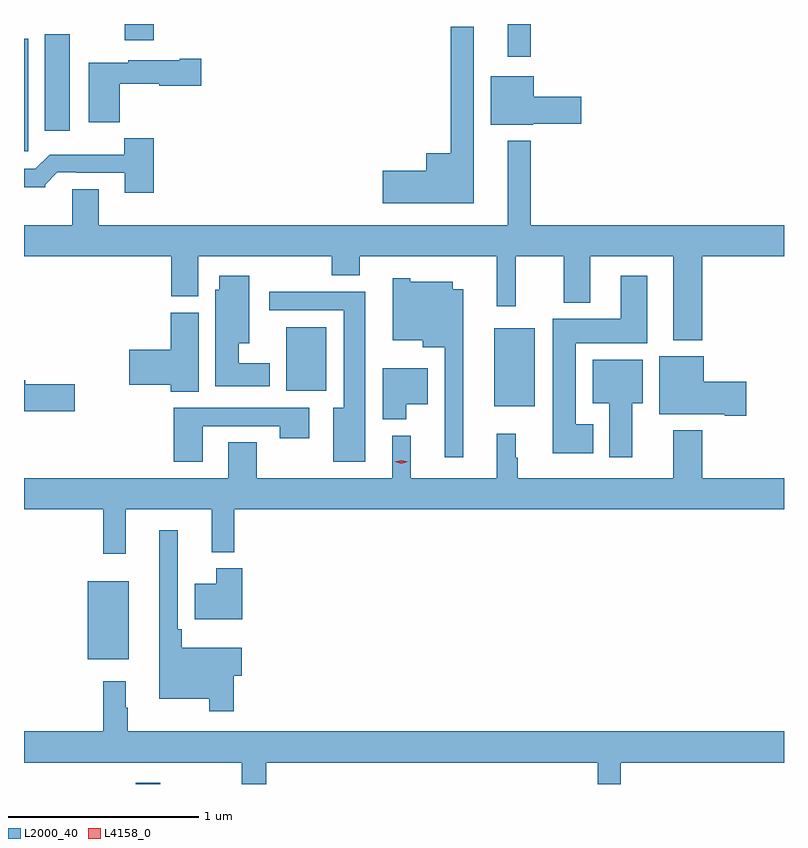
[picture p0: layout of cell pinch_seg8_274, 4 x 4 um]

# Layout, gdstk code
import gdstk
lib = gdstk.Library(unit=1e-6, precision=1e-09)
def R(c, l, rs):  # rectangles x0, y0, x1, y1
    for r in rs: c.add(gdstk.rectangle(r[:2], r[2:], *l))
def P(c, l, *ps):  # polygons
    for p in ps: c.add(gdstk.Polygon(p, *l))
L2000_40 = (2000, 40)
L4158_0 = (4158, 0)

pinch_seg8_274 = lib.new_cell('pinch_seg8_274')
R(pinch_seg8_274, L2000_40, [(513.484,1159.011,513.613,1159.018), (513.23,1159.667,513.445,1160.077), (515.369,1160.999,515.584,1161.409), (514.274,1161.08,514.486,1161.415), (512.895,1162.341,512.917,1162.933), (513.005,1162.449,513.136,1162.957), (515.441,1162.839,515.563,1163.011), (513.425,1162.926,513.578,1163.011)])
P(pinch_seg8_274, L2000_40, [(515.263,1162.996),(515.142,1162.996),(515.142,1162.33),(515.012,1162.33),(515.012,1162.238),(514.782,1162.238),(514.782,1162.067),(515.263,1162.067)],
  [(513.398,1162.697),(513.606,1162.697),(513.606,1162.685),(513.829,1162.685),(513.829,1162.827),(513.716,1162.827),(513.716,1162.819),(513.444,1162.819),(513.444,1162.807),(513.236,1162.807),(513.236,1162.493),(513.398,1162.493)],
  [(515.574,1162.487),(515.827,1162.487),(515.827,1162.629),(515.578,1162.629),(515.578,1162.735),(515.351,1162.735),(515.351,1162.481),(515.574,1162.481)],
  [(513.578,1162.411),(513.423,1162.411),(513.423,1162.324),(513.031,1162.324),(512.955,1162.248),(512.895,1162.248),(512.895,1162.151),(513.006,1162.151),(513.006,1162.166),(513.07,1162.23),(513.169,1162.23),(513.169,1162.227),(513.425,1162.227),(513.425,1162.122),(513.578,1162.122)],
  [(516.464,1161.788),(516.895,1161.788),(516.895,1161.952),(515.563,1161.952),(515.563,1162.396),(515.441,1162.396),(515.441,1161.952),(513.289,1161.952),(513.289,1162.142),(513.149,1162.142),(513.149,1161.952),(512.895,1161.952),(512.895,1161.788),(513.671,1161.788),(513.671,1161.577),(513.811,1161.577),(513.811,1161.788),(514.516,1161.788),(514.516,1161.689),(514.663,1161.689),(514.663,1161.788),(515.383,1161.788),(515.383,1161.525),(515.484,1161.525),(515.484,1161.788),(515.735,1161.788),(515.735,1161.545),(515.875,1161.545),(515.875,1161.788),(516.311,1161.788),(516.311,1161.347),(516.464,1161.347)],
  [(514.189,1161.226),(514.024,1161.226),(514.024,1161.332),(514.081,1161.332),(514.081,1161.685),(513.923,1161.685),(513.923,1161.612),(513.902,1161.612),(513.902,1161.104),(514.189,1161.104)],
  [(515.89,1160.905),(515.8,1160.905),(515.8,1161.332),(516.175,1161.332),(516.175,1161.685),(516.035,1161.685),(516.035,1161.46),(515.678,1161.46),(515.678,1160.753),(515.89,1160.753)],
  [(515.206,1161.616),(515.152,1161.616),(515.152,1161.655),(514.929,1161.655),(514.929,1161.673),(514.835,1161.673),(514.835,1161.347),(514.994,1161.347),(514.994,1161.311),(515.109,1161.311),(515.109,1160.73),(515.206,1160.73)],
  [(514.69,1161.602),(514.185,1161.602),(514.185,1161.504),(514.577,1161.504),(514.577,1160.992),(514.523,1160.992),(514.523,1160.706),(514.69,1160.706)],
  [(513.814,1161.492),(513.668,1161.492),(513.668,1161.296),(513.45,1161.296),(513.45,1161.113),(513.668,1161.113),(513.668,1161.076),(513.814,1161.076)],
  [(516.697,1161.128),(516.472,1161.128),(516.472,1161.262),(516.239,1161.262),(516.239,1160.957),(516.584,1160.957),(516.584,1160.95),(516.697,1160.95)],
  [(516.097,1161.014),(516.151,1161.014),(516.151,1161.244),(515.888,1161.244),(515.888,1161.014),(515.975,1161.014),(515.975,1160.73),(516.097,1160.73)],
  [(514.906,1161.011),(515.02,1161.011),(515.02,1161.199),(514.784,1161.199),(514.784,1160.93),(514.906,1160.93)],
  [(513.163,1161.116),(512.902,1161.116),(512.902,1161.137),(512.895,1161.137),(512.895,1160.974),(513.163,1160.974)],
  [(513.835,1160.895),(514.24,1160.895),(514.24,1160.832),(514.395,1160.832),(514.395,1160.991),(513.683,1160.991),(513.683,1160.706),(513.835,1160.706)],
  [(513.431,1160.456),(513.884,1160.456),(513.884,1160.231),(514.001,1160.231),(514.001,1160.456),(516.895,1160.456),(516.895,1160.62),(516.464,1160.62),(516.464,1160.872),(516.311,1160.872),(516.311,1160.62),(515.494,1160.62),(515.494,1160.729),(515.483,1160.729),(515.483,1160.854),(515.384,1160.854),(515.384,1160.62),(514.931,1160.62),(514.931,1160.845),(514.832,1160.845),(514.832,1160.62),(514.119,1160.62),(514.119,1160.81),(513.971,1160.81),(513.971,1160.62),(512.895,1160.62),(512.895,1160.456),(513.313,1160.456),(513.313,1160.223),(513.431,1160.223)],
  [(513.998,1159.582),(514.042,1159.582),(514.042,1159.729),(513.725,1159.729),(513.725,1159.825),(513.705,1159.825),(513.705,1160.347),(513.608,1160.347),(513.608,1159.46),(513.87,1159.46),(513.87,1159.395),(513.998,1159.395)],
  [(514.043,1160.146),(513.908,1160.146),(513.908,1160.065),(513.794,1160.065),(513.794,1159.877),(514.043,1159.877)],
  [(514.169,1159.124),(515.916,1159.124),(515.916,1159.011),(516.037,1159.011),(516.037,1159.124),(516.895,1159.124),(516.895,1159.288),(513.442,1159.288),(513.442,1159.412),(513.43,1159.412),(513.43,1159.552),(513.313,1159.552),(513.313,1159.288),(512.895,1159.288),(512.895,1159.124),(514.041,1159.124),(514.041,1159.011),(514.169,1159.011)])
P(pinch_seg8_274, L4158_0, [(514.881,1160.696),(514.845,1160.706),(514.845,1160.706),(514.845,1160.706),(514.881,1160.716),(514.917,1160.706),(514.917,1160.706),(514.917,1160.706)])

lib.write_gds('pinch_seg8_274.gds')
